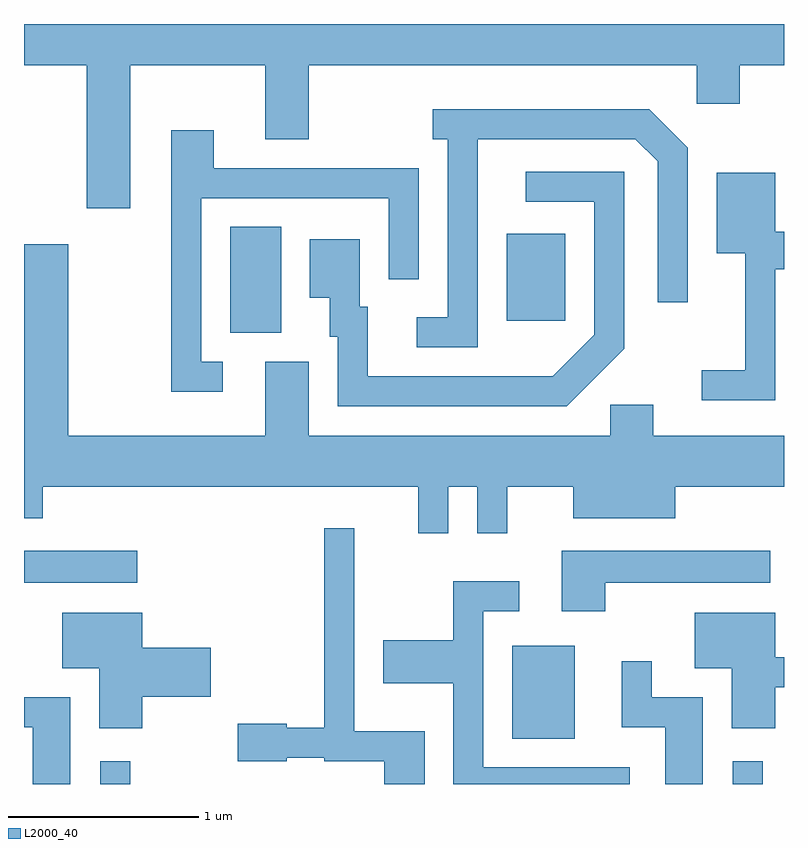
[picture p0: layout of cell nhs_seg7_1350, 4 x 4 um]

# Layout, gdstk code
import gdstk
lib = gdstk.Library(unit=1e-6, precision=1e-09)
def R(c, l, rs):  # rectangles x0, y0, x1, y1
    for r in rs: c.add(gdstk.rectangle(r[:2], r[2:], *l))
def P(c, l, *ps):  # polygons
    for p in ps: c.add(gdstk.Polygon(p, *l))
L2000_40 = (2000, 40)

nhs_seg7_1350 = lib.new_cell('nhs_seg7_1350')
R(nhs_seg7_1350, L2000_40, [(226.011,1768.252,226.169,1768.373), (229.341,1768.252,229.499,1768.373), (228.181,1768.491,228.509,1768.979), (225.611,1769.311,226.208,1769.479), (226.696,1770.626,226.964,1771.184), (228.151,1770.691,228.459,1771.149)])
P(nhs_seg7_1350, L2000_40, [(226.169,1772.036),(226.881,1772.036),(226.881,1771.646),(227.109,1771.646),(227.109,1772.036),(229.151,1772.036),(229.151,1771.831),(229.379,1771.831),(229.379,1772.036),(229.611,1772.036),(229.611,1772.252),(225.611,1772.252),(225.611,1772.036),(225.941,1772.036),(225.941,1771.281),(226.169,1771.281)],
  [(227.999,1771.646),(228.829,1771.646),(228.946,1771.529),(228.946,1770.788),(229.104,1770.788),(229.104,1771.602),(228.902,1771.804),(227.763,1771.804),(227.763,1771.646),(227.841,1771.646),(227.841,1770.709),(227.678,1770.709),(227.678,1770.551),(227.999,1770.551)],
  [(226.658,1770.474),(226.544,1770.474),(226.544,1771.336),(227.531,1771.336),(227.531,1770.908),(227.689,1770.908),(227.689,1771.494),(226.609,1771.494),(226.609,1771.694),(226.386,1771.694),(226.386,1770.316),(226.658,1770.316)],
  [(228.769,1770.544),(228.769,1771.474),(228.253,1771.474),(228.253,1771.316),(228.611,1771.316),(228.611,1770.617),(228.394,1770.399),(227.419,1770.399),(227.419,1770.764),(227.379,1770.764),(227.379,1771.119),(227.116,1771.119),(227.116,1770.811),(227.221,1770.811),(227.221,1770.606),(227.261,1770.606),(227.261,1770.241),(228.467,1770.241)],
  [(229.564,1770.961),(229.611,1770.961),(229.611,1771.159),(229.564,1771.159),(229.564,1771.469),(229.256,1771.469),(229.256,1771.046),(229.406,1771.046),(229.406,1770.429),(229.178,1770.429),(229.178,1770.271),(229.564,1770.271)],
  [(228.924,1770.249),(228.696,1770.249),(228.696,1770.084),(227.109,1770.084),(227.109,1770.474),(226.881,1770.474),(226.881,1770.084),(225.844,1770.084),(225.844,1771.094),(225.611,1771.094),(225.611,1769.651),(225.709,1769.651),(225.709,1769.816),(227.686,1769.816),(227.686,1769.573),(227.844,1769.573),(227.844,1769.816),(227.996,1769.816),(227.996,1769.573),(228.154,1769.573),(228.154,1769.816),(228.501,1769.816),(228.501,1769.651),(229.039,1769.651),(229.039,1769.816),(229.611,1769.816),(229.611,1770.084),(228.924,1770.084)],
  [(227.719,1768.529),(227.349,1768.529),(227.349,1769.598),(227.191,1769.598),(227.191,1768.549),(226.994,1768.549),(226.994,1768.569),(226.736,1768.569),(226.736,1768.371),(226.994,1768.371),(226.994,1768.391),(227.191,1768.391),(227.191,1768.371),(227.506,1768.371),(227.506,1768.252),(227.719,1768.252)],
  [(228.669,1769.311),(229.538,1769.311),(229.538,1769.479),(228.441,1769.479),(228.441,1769.161),(228.669,1769.161)],
  [(228.798,1768.339),(228.029,1768.339),(228.029,1769.161),(228.218,1769.161),(228.218,1769.319),(227.871,1769.319),(227.871,1769.009),(227.501,1769.009),(227.501,1768.781),(227.871,1768.781),(227.871,1768.252),(228.798,1768.252)],
  [(229.564,1768.761),(229.611,1768.761),(229.611,1768.919),(229.564,1768.919),(229.564,1769.154),(229.141,1769.154),(229.141,1768.861),(229.336,1768.861),(229.336,1768.546),(229.564,1768.546)],
  [(226.234,1768.711),(226.594,1768.711),(226.594,1768.969),(226.234,1768.969),(226.234,1769.154),(225.811,1769.154),(225.811,1768.861),(226.006,1768.861),(226.006,1768.546),(226.234,1768.546)],
  [(229.184,1768.709),(228.914,1768.709),(228.914,1768.898),(228.756,1768.898),(228.756,1768.551),(228.986,1768.551),(228.986,1768.252),(229.184,1768.252)],
  [(225.854,1768.709),(225.611,1768.709),(225.611,1768.551),(225.656,1768.551),(225.656,1768.252),(225.854,1768.252)])

lib.write_gds('nhs_seg7_1350.gds')
